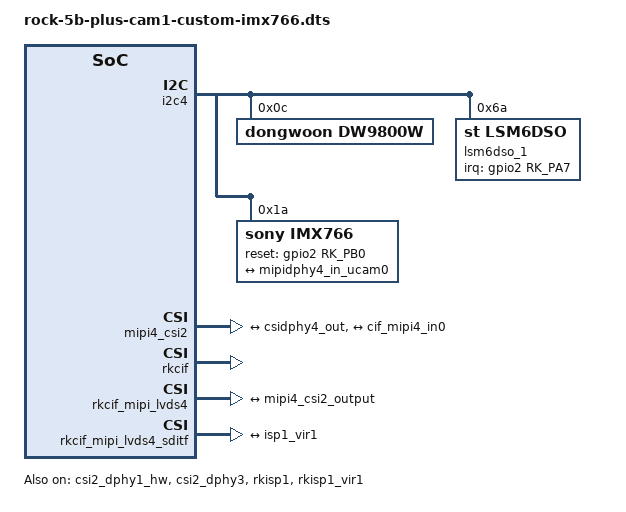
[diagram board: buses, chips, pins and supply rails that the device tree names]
/dts-v1/;
/plugin/;

#include <dt-bindings/clock/rk3588-cru.h>
#include <dt-bindings/power/rk3588-power.h>
#include <dt-bindings/gpio/gpio.h>
#include <dt-bindings/pinctrl/rockchip.h>
#include <dt-bindings/interrupt-controller/irq.h>
#include <dt-bindings/sensor-dev.h>

/ {
	metadata {
		title ="Enable Custom IMX766 on CAM1";
		compatible = "radxa,rock-5b-plus";
		category = "camera";
		exclusive = "csi2_dphy1";
		description = "Enable Custom IMX766 on CAM1.";
	};
};

&i2c4 {
	pinctrl-names = "default";
	pinctrl-0 = <&i2c4m1_xfer>;
	status = "okay";
	#address-cells = <1>;
	#size-cells = <0>;

	dw9800w: dw9800w@0c {
		status = "okay";
		compatible = "dongwoon,dw9800w";
		reg = <0x0c>;

		rockchip,camera-module-index = <0>;
		rockchip,camera-module-facing = "front";

		rockchip,vcm-max-current = <1023>;
		rockchip,vcm-start-current = <200>;
		rockchip,vcm-rated-current = <1020>;
		rockchip,vcm-step-mode = <6>;
		rockchip,vcm-t-src = <16>;
		rockchip,vcm-t-div = <1>;
	};

	lsm6dso_1: imu-1@6a {
		status = "okay";
		compatible = "st,lsm6dso";
		reg = <0x6a>;

		interrupt-parent = <&gpio2>;
		interrupts = <RK_PA7 IRQ_TYPE_EDGE_RISING>;
	};

	imx766: imx766@1a {
		status = "okay";
		compatible = "sony,imx766";
		reg = <0x1a>;
		clocks = <&cru CLK_MIPI_CAMARAOUT_M4>;
		clock-names = "xvclk";
		pinctrl-names = "default";
		pinctrl-0 = <&mipim0_camera4_clk>;
		power-domains = <&power RK3588_PD_VI>;
		//pwdn-gpios = <&gpio2 RK_PA6 GPIO_ACTIVE_HIGH>;
		reset-gpios = <&gpio2 RK_PB0 GPIO_ACTIVE_HIGH>;
		rockchip,camera-module-index = <1>;
		rockchip,camera-module-facing = "back";
		rockchip,camera-module-name = "CUSTOM-IMX766";
		rockchip,camera-module-lens-name = "DEFAULT";
		port {
			imx766_out4: endpoint {
				remote-endpoint = <&mipidphy4_in_ucam0>;
				data-lanes = <1 2 3 4>;
			};
		};
	};
};

&csi2_dphy1_hw {
	status = "okay";
};

&csi2_dphy3 {
	status = "okay";

	ports {
		#address-cells = <1>;
		#size-cells = <0>;

		port@0 {
			reg = <0>;
			#address-cells = <1>;
			#size-cells = <0>;

			mipidphy4_in_ucam0: endpoint@1 {
				reg = <1>;
				remote-endpoint = <&imx766_out4>;
				data-lanes = <1 2 3 4>;
			};
		};

		port@1 {
			reg = <1>;
			#address-cells = <1>;
			#size-cells = <0>;

			csidphy4_out: endpoint@0 {
				reg = <0>;
				remote-endpoint = <&mipi4_csi2_input>;
			};
		};
	};
};

&mipi4_csi2 {
	status = "okay";

	ports {
		#address-cells = <1>;
		#size-cells = <0>;

		port@0 {
			reg = <0>;
			#address-cells = <1>;
			#size-cells = <0>;

			mipi4_csi2_input: endpoint@1 {
				reg = <1>;
				remote-endpoint = <&csidphy4_out>;
			};
		};

		port@1 {
			reg = <1>;
			#address-cells = <1>;
			#size-cells = <0>;

			mipi4_csi2_output: endpoint@0 {
				reg = <0>;
				remote-endpoint = <&cif_mipi4_in0>;
			};
		};
	};
};

&rkcif {
	status = "okay";
};

&rkcif_mipi_lvds4 {
	status = "okay";

	port {
		cif_mipi4_in0: endpoint {
			remote-endpoint = <&mipi4_csi2_output>;
		};
	};
};

&rkcif_mipi_lvds4_sditf {
	status = "okay";

	port {
		mipi_lvds4_sditf: endpoint {
			remote-endpoint = <&isp1_vir1>;
		};
	};
};

&rkcif_mmu {
	status = "okay";
};

&isp1_mmu {
	status = "okay";
};

&rkisp1 {
	status = "okay";
};

&rkisp1_vir1 {
	status = "okay";

	port {
		#address-cells = <1>;
		#size-cells = <0>;

		isp1_vir1: endpoint@0 {
			reg = <0>;
			remote-endpoint = <&mipi_lvds4_sditf>;
		};
	};
};
